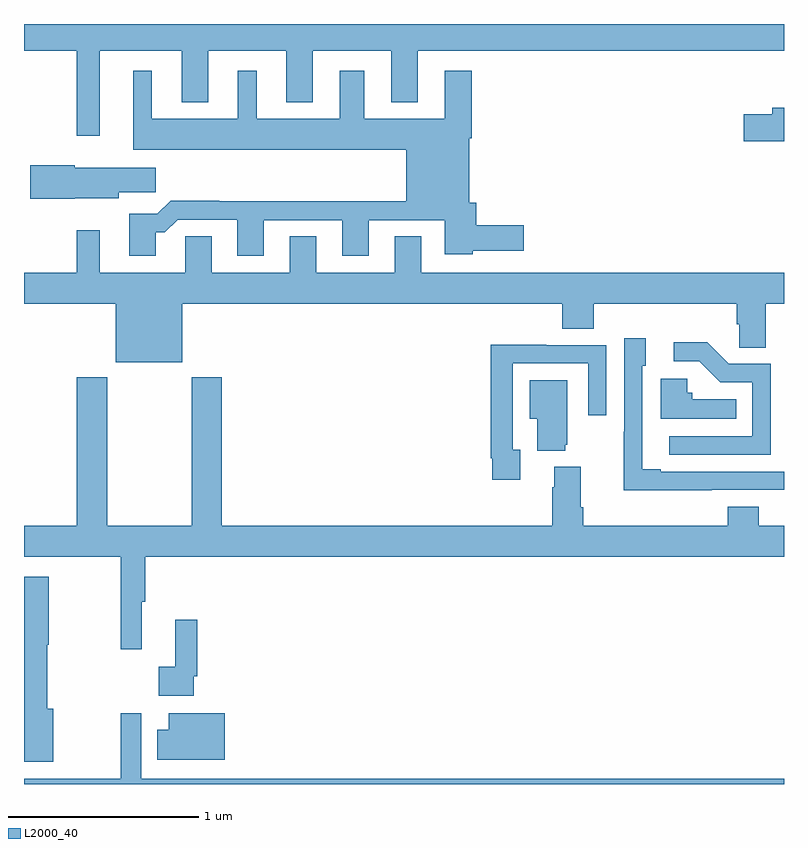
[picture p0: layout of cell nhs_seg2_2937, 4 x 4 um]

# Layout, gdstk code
import gdstk
lib = gdstk.Library(unit=1e-6, precision=1e-09)
def P(c, l, *ps):  # polygons
    for p in ps: c.add(gdstk.Polygon(p, *l))
L2000_40 = (2000, 40)

nhs_seg2_2937 = lib.new_cell('nhs_seg2_2937')
P(nhs_seg2_2937, L2000_40, [(265,623.66),(265.278,623.66),(265.278,623.211),(265.399,623.211),(265.399,623.66),(265.829,623.66),(265.829,623.387),(265.969,623.387),(265.969,623.66),(266.381,623.66),(266.381,623.387),(266.521,623.387),(266.521,623.66),(266.933,623.66),(266.933,623.387),(267.073,623.387),(267.073,623.66),(269,623.66),(269,623.8),(265,623.8)],
  [(265.693,622.703),(265.742,622.703),(265.809,622.77),(266.123,622.77),(266.123,622.581),(266.263,622.581),(266.263,622.767),(266.675,622.767),(266.675,622.581),(266.815,622.581),(266.815,622.767),(267.215,622.767),(267.215,622.589),(267.363,622.589),(267.363,622.607),(267.631,622.607),(267.631,622.742),(267.38,622.742),(267.38,622.86),(267.343,622.86),(267.343,623.198),(267.356,623.198),(267.356,623.554),(267.215,623.554),(267.215,623.302),(266.791,623.302),(266.791,623.554),(266.663,623.554),(266.663,623.302),(266.224,623.302),(266.224,623.554),(266.126,623.554),(266.126,623.302),(265.672,623.302),(265.672,623.554),(265.574,623.554),(265.574,623.138),(267.011,623.138),(267.011,622.868),(266.027,622.868),(266.027,622.871),(265.772,622.871),(265.702,622.801),(265.553,622.801),(265.553,622.581),(265.693,622.581)],
  [(269,623.359),(268.937,623.359),(268.937,623.325),(268.788,623.325),(268.788,623.183),(269,623.183)],
  [(265.266,622.883),(265.498,622.883),(265.498,622.915),(265.693,622.915),(265.693,623.044),(265.266,623.044),(265.266,623.057),(265.032,623.057),(265.032,622.879),(265.266,622.879)],
  [(265.834,622.328),(267.833,622.328),(267.833,622.195),(267.998,622.195),(267.998,622.328),(268.751,622.328),(268.751,622.219),(268.764,622.219),(268.764,622.096),(268.903,622.096),(268.903,622.328),(269,622.328),(269,622.492),(267.091,622.492),(267.091,622.682),(266.951,622.682),(266.951,622.492),(266.539,622.492),(266.539,622.682),(266.399,622.682),(266.399,622.492),(265.987,622.492),(265.987,622.682),(265.848,622.682),(265.848,622.492),(265.399,622.492),(265.399,622.714),(265.278,622.714),(265.278,622.492),(265,622.492),(265,622.328),(265.484,622.328),(265.484,622.019),(265.834,622.019)],
  [(268.619,621.348),(269,621.348),(269,621.444),(268.351,621.444),(268.351,621.457),(268.254,621.457),(268.254,622.002),(268.273,622.002),(268.273,622.147),(268.158,622.147),(268.158,621.653),(268.156,621.653),(268.156,621.347),(268.619,621.347)],
  [(268.929,622.011),(268.71,622.011),(268.597,622.124),(268.419,622.124),(268.419,622.026),(268.553,622.026),(268.664,621.915),(268.833,621.915),(268.833,621.63),(268.395,621.63),(268.395,621.534),(268.929,621.534)],
  [(267.613,621.558),(267.573,621.558),(267.573,622.014),(267.969,622.014),(267.969,621.741),(268.065,621.741),(268.065,622.11),(267.749,622.11),(267.749,622.112),(267.457,622.112),(267.457,621.514),(267.465,621.514),(267.465,621.402),(267.613,621.402)],
  [(265.619,620.76),(265.637,620.76),(265.637,620.996),(269,620.996),(269,621.16),(268.868,621.16),(268.868,621.259),(268.703,621.259),(268.703,621.16),(267.944,621.16),(267.944,621.256),(267.931,621.256),(267.931,621.469),(267.791,621.469),(267.791,621.362),(267.779,621.362),(267.779,621.16),(266.042,621.16),(266.042,621.94),(265.882,621.94),(265.882,621.16),(265.437,621.16),(265.437,621.94),(265.277,621.94),(265.277,621.16),(265,621.16),(265,620.996),(265.509,620.996),(265.509,620.508),(265.619,620.508)],
  [(268.748,621.826),(268.518,621.826),(268.518,621.858),(268.491,621.858),(268.491,621.934),(268.352,621.934),(268.352,621.722),(268.748,621.722)],
  [(267.848,621.585),(267.859,621.585),(267.859,621.925),(267.662,621.925),(267.662,621.722),(267.701,621.722),(267.701,621.554),(267.848,621.554)],
  [(265.155,620.196),(265.123,620.196),(265.123,620.534),(265.131,620.534),(265.131,620.89),(265,620.89),(265,619.917),(265.155,619.917)],
  [(265.893,620.368),(265.913,620.368),(265.913,620.665),(265.796,620.665),(265.796,620.417),(265.71,620.417),(265.71,620.264),(265.893,620.264)],
  [(269,619.828),(265.617,619.828),(265.617,620.173),(265.509,620.173),(265.509,619.828),(265,619.828),(265,619.8),(269,619.8)],
  [(266.056,620.173),(265.763,620.173),(265.763,620.086),(265.702,620.086),(265.702,619.928),(266.056,619.928)])

lib.write_gds('nhs_seg2_2937.gds')
